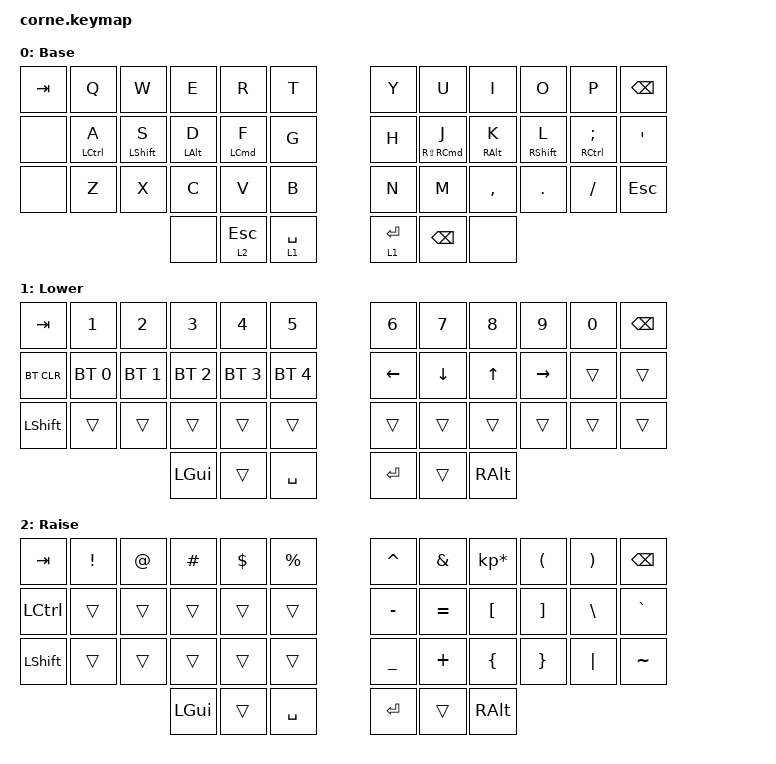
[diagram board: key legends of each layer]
/*
 * Copyright (c) 2020 The ZMK Contributors
 *
 * SPDX-License-Identifier: MIT
 */

#include <behaviors.dtsi>
#include <dt-bindings/zmk/bt.h>
#include <dt-bindings/zmk/keys.h>

&mt {
    quick-tap-ms = <200>;
    require-prior-idle-ms = <125>;
    flavor = "tap-preferred";
};

/ {
    keymap {
        compatible = "zmk,keymap";

        default_layer {
            // -----------------------------------------------------------------------------------------
            // |  TAB |  Q  |  W  |  E  |  R  |  T  |   |  Y  |  U   |  I  |  O  |  P  | BKSP |
            // | CTRL |  A  |  S  |  D  |  F  |  G  |   |  H  |  J   |  K  |  L  |  ;  |  '   |
            // | SHFT |  Z  |  X  |  C  |  V  |  B  |   |  N  |  M   |  ,  |  .  |  /  | ESC  |
            //                    | GUI | LWR | SPC |   | ENT | RSE  | ALT |

            display-name = "Base";
            bindings = <
&kp TAB  &kp Q               &kp W             &kp E           &kp R               &kp T          &kp Y        &kp U                    &kp I            &kp O              &kp P                   &kp BSPC
&none    &mt LEFT_CONTROL A  &mt LEFT_SHIFT S  &mt LEFT_ALT D  &mt LEFT_COMMAND F  &kp G          &kp H        &mt RS(RIGHT_COMMAND) J  &mt RIGHT_ALT K  &mt RIGHT_SHIFT L  &mt RIGHT_CONTROL SEMI  &kp SQT
&none    &kp Z               &kp X             &kp C           &kp V               &kp B          &kp N        &kp M                    &kp COMMA        &kp DOT            &kp FSLH                &kp ESC
                                               &none           &lt 2 ESCAPE        &lt 1 SPACE    &lt 1 ENTER  &kp BACKSPACE            &none
            >;
        };

        lower_layer {
            // -----------------------------------------------------------------------------------------
            // |  TAB |  1  |  2  |  3  |  4  |  5  |   |  6  |  7  |  8  |  9  |  0  | BKSP |
            // | BTCLR| BT1 | BT2 | BT3 | BT4 | BT5 |   | LFT | DWN |  UP | RGT |     |      |
            // | SHFT |     |     |     |     |     |   |     |     |     |     |     |      |
            //                    | GUI |     | SPC |   | ENT |     | ALT |

            display-name = "Lower";
            bindings = <
&kp TAB     &kp N1        &kp N2        &kp N3        &kp N4        &kp N5          &kp N6    &kp N7    &kp N8    &kp N9     &kp N0  &kp BSPC
&bt BT_CLR  &bt BT_SEL 0  &bt BT_SEL 1  &bt BT_SEL 2  &bt BT_SEL 3  &bt BT_SEL 4    &kp LEFT  &kp DOWN  &kp UP    &kp RIGHT  &trans  &trans
&kp LSHFT   &trans        &trans        &trans        &trans        &trans          &trans    &trans    &trans    &trans     &trans  &trans
                                        &kp LGUI      &trans        &kp SPACE       &kp RET   &trans    &kp RALT
            >;
        };

        raise_layer {
            // -----------------------------------------------------------------------------------------
            // |  TAB |  !  |  @  |  #  |  $  |  %  |   |  ^  |  &  |  *  |  (  |  )  | BKSP |
            // | CTRL |     |     |     |     |     |   |  -  |  =  |  [  |  ]  |  \  |  `   |
            // | SHFT |     |     |     |     |     |   |  _  |  +  |  {  |  }  | "|" |  ~   |
            //                    | GUI |     | SPC |   | ENT |     | ALT |

            display-name = "Raise";
            bindings = <
&kp TAB    &kp EXCL  &kp AT  &kp HASH  &kp DLLR  &kp PRCNT    &kp CARET  &kp AMPS   &kp KP_MULTIPLY  &kp LPAR  &kp RPAR  &kp BSPC
&kp LCTRL  &trans    &trans  &trans    &trans    &trans       &kp MINUS  &kp EQUAL  &kp LBKT         &kp RBKT  &kp BSLH  &kp GRAVE
&kp LSHFT  &trans    &trans  &trans    &trans    &trans       &kp UNDER  &kp PLUS   &kp LBRC         &kp RBRC  &kp PIPE  &kp TILDE
                             &kp LGUI  &trans    &kp SPACE    &kp RET    &trans     &kp RALT
            >;
        };

        extra_1 { status = "reserved"; };

        extra_2 { status = "reserved"; };

        extra_3 { status = "reserved"; };
    };
};
